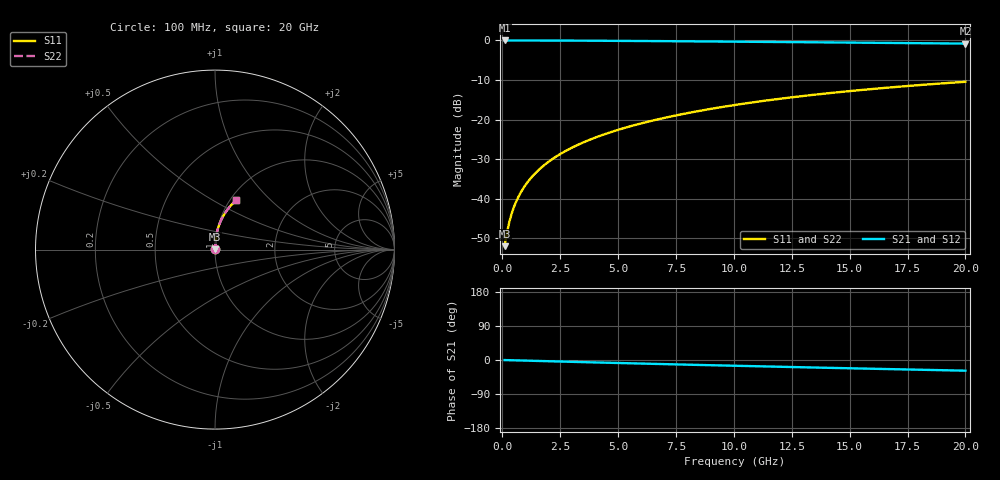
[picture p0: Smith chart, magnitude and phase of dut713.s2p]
! Touchstone file exported from HFSS 2024.1.0
!  File:  C:/UserFiles/LocalFiles/RDL_TSV_Batchsim/temp_RDL_top_713_1779850291.aedt
!  Generated:  10:53:59 AM May 27, 2026
!  Design:  RDL_top
!  Project:  temp_RDL_top_713_1779850291
!  Setup:  Setup1
!  Solution:  Sweep
! Variables:
!  dtsv = 10.80580581um
!  hbump = 3um
!  htsv = 80.6um
!  ldown = 100um
!  lrdl = 367.05um
!  p = 40
!  p1 = 48.83um
!  rhole = 1um
!  t = 450um
!  tdown = 3.915915916um
!  trdl = 3.87um
!  wdown = 15.38538539um
!  wrdl = 18.57um
# GHz S MA R 50.000000
! Terminal data exported
! Port[1] = Box2_T1
! Port[2] = Box2_T2
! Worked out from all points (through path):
!   200 points, 100 MHz to 20 GHz, reference 50 ohm
!   highest |S21| = -0.02 dB at 100 MHz (marker M1); lowest = -0.8 dB at 20 GHz (marker M2)
!   group delay of S21, straight-line fit = 3.89 ps
!   lowest |S11| = -52.0 dB at 100 MHz (marker M3), VSWR 1.01, Z = 50.2 + j0.157 ohm
!   |S11| at or under -10 dB: start of sweep to end of sweep
!   |S22| runs from -52.0 to -10.5 dB; largest |S21 - S12| = 3.1e-15
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0.1  0.002519 38.4  0.998 -0.2  0.998 -0.2  0.002519 38.4
! Gamma 0 0 0 0
! Port Impedance 50 0 50 0
0.2  0.003709 56.5  0.9979 -0.3  0.9979 -0.3  0.003709 56.5
0.3  0.005053 65.0  0.9978 -0.5  0.9978 -0.5  0.005053 65.0
0.4  0.006433 69.9  0.9977 -0.7  0.9977 -0.7  0.006433 69.9
0.5  0.007824 73.1  0.9976 -0.8  0.9976 -0.8  0.007824 73.1
0.6  0.009224 75.3  0.9975 -1.0  0.9975 -1.0  0.009224 75.3
0.8  0.01204 78.4  0.9973 -1.3  0.9973 -1.3  0.01204 78.4
1.1  0.01632 81.0  0.997 -1.8  0.997 -1.8  0.01632 81.0
1.5  0.02208 82.8  0.9965 -2.4  0.9965 -2.4  0.02208 82.8
1.8  0.02643 83.6  0.996 -2.9  0.996 -2.9  0.02643 83.6
2.1  0.03081 84.2  0.9954 -3.4  0.9954 -3.4  0.03081 84.2
2.7  0.03963 84.7  0.9941 -4.4  0.9941 -4.4  0.03963 84.7
3.5  0.05151 84.9  0.9918 -5.6  0.9918 -5.6  0.05151 84.9
4.2  0.06202 84.8  0.9896 -6.7  0.9896 -6.7  0.06202 84.8
5  0.07418 84.4  0.9866 -7.9  0.9866 -7.9  0.07418 84.4
5.9  0.088 83.8  0.983 -9.3  0.983 -9.3  0.088 83.8
6.8  0.102 83.0  0.9791 -10.6  0.9791 -10.6  0.102 83.0
8.4  0.127 81.4  0.9718 -12.9  0.9718 -12.9  0.127 81.4
10.1  0.1537 79.4  0.9636 -15.3  0.9636 -15.3  0.1537 79.4
13.4  0.2048 75.2  0.9469 -19.8  0.9469 -19.8  0.2048 75.2
16.7  0.254 70.9  0.9294 -24.1  0.9294 -24.1  0.254 70.8
20  0.3002 66.5  0.9112 -28.2  0.9112 -28.2  0.3002 66.5
